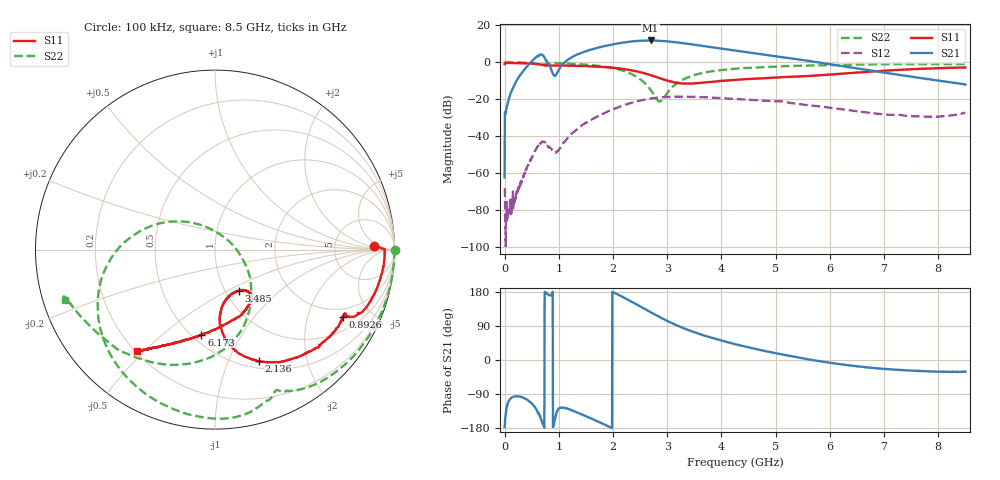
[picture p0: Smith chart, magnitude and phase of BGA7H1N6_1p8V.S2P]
! (c) 2014 Infineon Technologies AG
! BGA7M1N6 - Silicon Germanium Low Noise Amplifier for LTE
! 03 October 2014
! Special Application Board
! C1 = L1 = 0 Ohm
! C2 = 100 nF
! Vcc = 1.8V
! RF input and output lines de-embedded
! Port 1 reference plane: LNA input AI (pin 5)
! Port 2 reference plane: LNA output AO (pin 3)
! Network Data:
! Measured BGA7H1N6 device level s-parameters
# Hz S dB R 50
!Freq  MagS11  AngS11  MagS21  AngS21  MagS12  AngS12  MagS22  AngS22
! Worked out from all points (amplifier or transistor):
!   1601 points, 100 kHz to 8.5 GHz, reference 50 ohm
!   highest |S21| = 11.7 dB at 2.694 GHz (marker M1)
!   |S21| within 3 dB of that: 1.852 GHz to 3.659 GHz (1.808 GHz wide, 65.6 % of centre)
!   unconditionally stable (mu >= 1): 9.574 MHz to end of sweep
!   at 1.413 GHz: K = 2.01, MAG = 14.1 dB, |S12| = -34.7 dB
!   at 4.25 GHz: K = 1.43, MAG = 9.2 dB, |S12| = -19.9 dB
!   at 8.5 GHz: K = 4.76, MAG = -2.2 dB, |S12| = -27.3 dB
!   lowest NFmin = 0.57 dB at 1.8 GHz
!   S11 on the Smith chart (normalised r, x): 100 kHz: 16, +3; 892.6 MHz: 1.58, -3.35; 2.136 GHz: 0.58, -1.30; 3.485 GHz: 1.15, -0.57; 6.173 GHz: 0.56, -0.69; 8.5 GHz: 0.21, -0.47
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100000  -1.03 1.4  -62.38 -176.7  -69.24 -123.8  0.01 -0.1
4.791194e7  -0.49 -1.7  -23.47 -119.8  -86.37 62.6  -0.01 -5.3
2.604094e8  -0.57 -9.7  -8.21 -96.1  -67.47 166.3  -0.13 -28.8
4.357199e8  -0.72 -16.2  -1.61 -106.9  -55.52 -175.3  -0.41 -47.0
5.632184e8  -0.92 -21.4  2.25 -125.5  -48.03 175.9  -0.84 -59.5
6.907169e8  -1.52 -26.7  3.96 -163.7  -43.05 143.6  -1.36 -66.6
7.757159e8  -1.80 -26.4  0.71 176.4  -45.48 123.4  -1.02 -71.1
8.925895e8  -1.90 -27.8  -6.37 -177.3  -48.10 127.2  -0.59 -80.3
1.136962e9  -1.85 -34.0  0.61 -127.6  -41.96 179.3  -0.67 -101.1
1.418521e9  -2.02 -42.6  5.08 -143.6  -34.50 176.2  -1.16 -121.1
1.774454e9  -2.56 -54.8  8.19 -165.8  -28.54 158.2  -2.16 -144.6
2.1357e9  -3.49 -68.5  10.33 169.5  -24.01 139.5  -4.22 -170.8
2.411947e9  -4.85 -78.7  11.36 148.5  -21.44 122.9  -7.56 164.8
2.693506e9  -7.06 -85.4  11.72 126.1  -19.72 104.4  -15.01 125.6
2.836942e9  -8.46 -85.9  11.59 115.1  -19.19 95.4  -21.11 68.5
3.113188e9  -10.82 -77.9  10.91 95.6  -18.72 79.2  -13.05 -33.7
3.485059e9  -11.57 -60.0  9.46 74.0  -18.81 61.7  -7.14 -67.3
4.25005e9  -9.60 -52.1  6.28 41.9  -19.94 38.2  -3.60 -105.0
5.668471e9  -7.39 -84.7  0.37 0.2  -23.52 13.5  -1.80 -147.5
6.173152e9  -6.38 -99.1  -1.92 -10.7  -25.36 11.8  -1.49 -155.3
7.086892e9  -4.52 -116.7  -6.04 -24.3  -28.48 24.1  -1.16 -161.8
8.5e9  -2.93 -127.7  -12.22 -31.1  -27.33 66.9  -1.12 -161.4
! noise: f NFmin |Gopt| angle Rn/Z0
1.8e+09  0.5666  0.5679  45.29  0.1695
1.9e+09  0.5709  0.5459  46.18  0.1695
2.1e+09  0.5874  0.5532  48.18  0.1765
2.2e+09  0.6044  0.5492  50.89  0.1789
2.34e+09  0.6034  0.5265  50.17  0.1729
2.38e+09  0.6238  0.5102  52  0.1742
2.5e+09  0.6283  0.5349  54.54  0.1752
2.54e+09  0.64  0.5077  55.47  0.1812
2.62e+09  0.6472  0.5297  56.64  0.1741
2.7e+09  0.6603  0.511  57.38  0.1756
